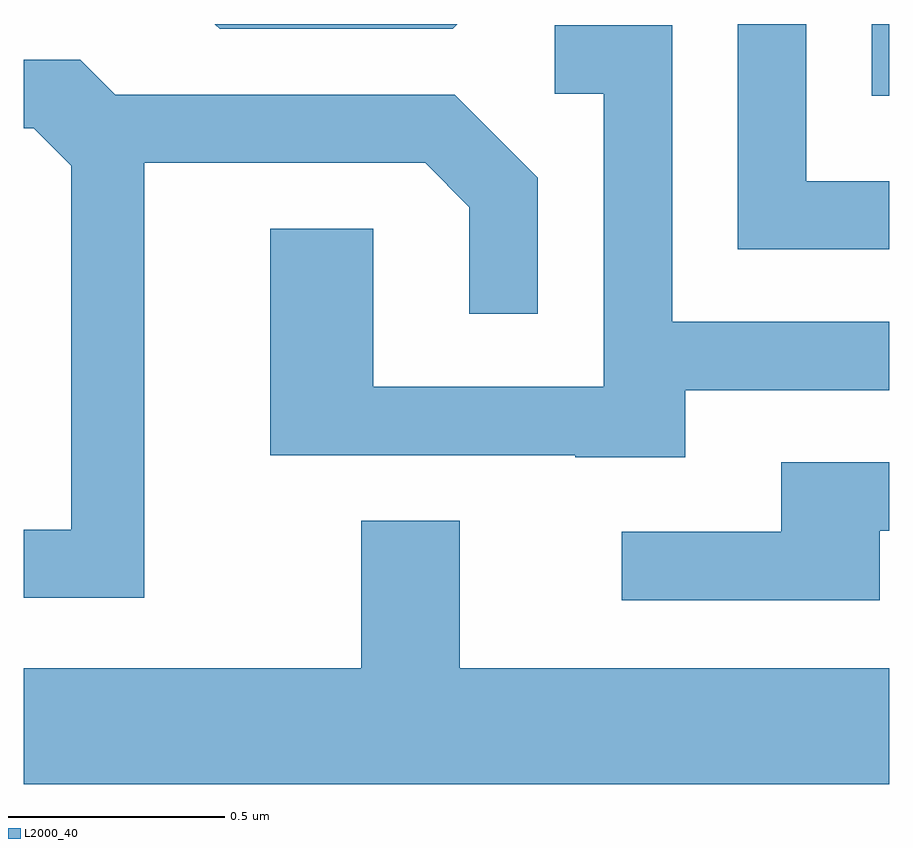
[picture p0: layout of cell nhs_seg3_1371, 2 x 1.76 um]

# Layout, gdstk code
import gdstk
lib = gdstk.Library(unit=1e-6, precision=1e-09)
def R(c, l, rs):  # rectangles x0, y0, x1, y1
    for r in rs: c.add(gdstk.rectangle(r[:2], r[2:], *l))
def P(c, l, *ps):  # polygons
    for p in ps: c.add(gdstk.Polygon(p, *l))
L2000_40 = (2000, 40)

nhs_seg3_1371 = lib.new_cell('nhs_seg3_1371')
R(nhs_seg3_1371, L2000_40, [(197.571,1118.726,197.611,1118.892)])
P(nhs_seg3_1371, L2000_40, [(196.613,1118.892),(196.053,1118.892),(196.064,1118.881),(196.602,1118.881)],
  [(197.611,1118.529),(197.419,1118.529),(197.419,1118.892),(197.261,1118.892),(197.261,1118.371),(197.611,1118.371)],
  [(197.139,1118.046),(197.611,1118.046),(197.611,1118.204),(197.109,1118.204),(197.109,1118.889),(196.838,1118.889),(196.838,1118.731),(196.951,1118.731),(196.951,1118.054),(196.419,1118.054),(196.419,1118.419),(196.181,1118.419),(196.181,1117.896),(196.885,1117.896),(196.885,1117.891),(197.139,1117.891)],
  [(195.889,1118.571),(196.539,1118.571),(196.641,1118.469),(196.641,1118.223),(196.799,1118.223),(196.799,1118.537),(196.607,1118.729),(195.822,1118.729),(195.742,1118.809),(195.611,1118.809),(195.611,1118.651),(195.634,1118.651),(195.721,1118.564),(195.721,1117.724),(195.611,1117.724),(195.611,1117.566),(195.889,1117.566)],
  [(197.589,1117.721),(197.611,1117.721),(197.611,1117.879),(197.361,1117.879),(197.361,1117.719),(196.993,1117.719),(196.993,1117.561),(197.589,1117.561)],
  [(197.611,1117.404),(196.619,1117.404),(196.619,1117.744),(196.391,1117.744),(196.391,1117.404),(195.611,1117.404),(195.611,1117.136),(197.611,1117.136)])

lib.write_gds('nhs_seg3_1371.gds')
